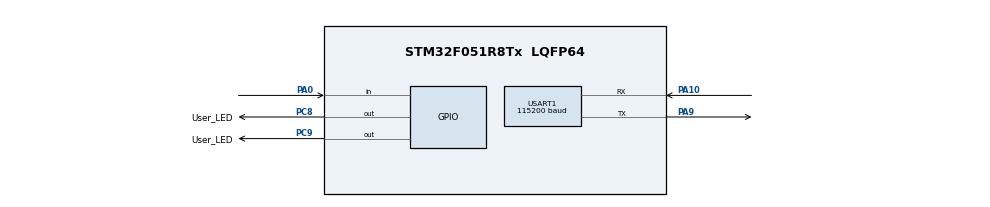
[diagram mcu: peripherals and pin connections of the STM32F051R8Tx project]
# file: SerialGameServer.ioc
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Mcu.Family=STM32F0
Mcu.Name=STM32F051R8Tx
Mcu.Package=LQFP64
NVIC.USART1_IRQn=true\:0\:0\:false\:false\:true\:true\:true\:true
PA0.GPIO_PuPd=GPIO_PULLUP
PA0.Signal=GPIO_Input
PA10.Mode=Asynchronous
PA10.Signal=USART1_RX
PA9.Mode=Asynchronous
PA9.Signal=USART1_TX
PC8.GPIO_Label=User_LED
PC8.Signal=GPIO_Output
PC9.GPIO_Label=User_LED
PC9.Signal=GPIO_Output
ProjectManager.HeapSize=0x200
ProjectManager.StackSize=0x400
ProjectManager.TargetToolchain=STM32CubeIDE
USART1.BaudRate=115200
USART1.VirtualMode-Asynchronous=VM_ASYNC
board=custom

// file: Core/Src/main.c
/* USER CODE BEGIN Header */
/**
  ******************************************************************************
  * @file           : main.c
  * @brief          : Main program body
  ******************************************************************************
  * @attention
  *
  * Copyright (c) 2026 STMicroelectronics.
  * All rights reserved.
  *
  * This software is licensed under terms that can be found in the LICENSE file
  * in the root directory of this software component.
  * If no LICENSE file comes with this software, it is provided AS-IS.
  *
  ******************************************************************************
  */
/* USER CODE END Header */
#include "main.h"

/* USER CODE BEGIN Includes */
#include <string.h>
#include "protocol.h"
#include "hardware.h"
/* USER CODE END Includes */

UART_HandleTypeDef huart1;

void SystemClock_Config(void);
static void MX_GPIO_Init(void);
static void MX_USART1_UART_Init(void);

int main(void)
{

  /* MCU Configuration--------------------------------------------------------*/

  /* Reset of all peripherals, Initializes the Flash interface and the Systick. */
  HAL_Init();

  /* Configure the system clock */
  SystemClock_Config();

  /* Initialize all configured peripherals */
  MX_GPIO_Init();
  MX_USART1_UART_Init();
  /* USER CODE BEGIN 2 */
  const char test_msg[] = "STM32 SERIAL SERVER READY\r\n";
  HAL_UART_Transmit(&huart1, (uint8_t*)test_msg, sizeof(test_msg)-1, 100);

  /* Initialize interrupt-driven circular ring buffer protocol layer */
  protocol_init(&huart1);

  /* Initialize hardware button debouncer and LED indicators */
  hardware_init();
  /* USER CODE END 2 */

  /* Infinite loop */
  while (1)
  {

    /* USER CODE BEGIN 3 */
    /* Non-blocking protocol processing of ring buffer */
    protocol_poll();

    /* Non-blocking hardware task: button debouncing and LED status updates */
    hardware_update();
  }
  /* USER CODE END 3 */
}

void SystemClock_Config(void)
{
  RCC_OscInitTypeDef RCC_OscInitStruct = {0};
  RCC_ClkInitTypeDef RCC_ClkInitStruct = {0};
  RCC_PeriphCLKInitTypeDef PeriphClkInit = {0};

  /** Initializes the RCC Oscillators according to the specified parameters
  * in the RCC_OscInitTypeDef structure.
  */
  RCC_OscInitStruct.OscillatorType = RCC_OSCILLATORTYPE_HSI;
  RCC_OscInitStruct.HSIState = RCC_HSI_ON;
  RCC_OscInitStruct.HSICalibrationValue = RCC_HSICALIBRATION_DEFAULT;
  RCC_OscInitStruct.PLL.PLLState = RCC_PLL_NONE;
  if (HAL_RCC_OscConfig(&RCC_OscInitStruct) != HAL_OK)
  {
    Error_Handler();
  }

  /** Initializes the CPU, AHB and APB buses clocks
  */
  RCC_ClkInitStruct.ClockType = RCC_CLOCKTYPE_HCLK|RCC_CLOCKTYPE_SYSCLK
                              |RCC_CLOCKTYPE_PCLK1;
  RCC_ClkInitStruct.SYSCLKSource = RCC_SYSCLKSOURCE_HSI;
  RCC_ClkInitStruct.AHBCLKDivider = RCC_SYSCLK_DIV1;
  RCC_ClkInitStruct.APB1CLKDivider = RCC_HCLK_DIV1;

  if (HAL_RCC_ClockConfig(&RCC_ClkInitStruct, FLASH_LATENCY_0) != HAL_OK)
  {
    Error_Handler();
  }
  PeriphClkInit.PeriphClockSelection = RCC_PERIPHCLK_USART1;
  PeriphClkInit.Usart1ClockSelection = RCC_USART1CLKSOURCE_PCLK1;
  if (HAL_RCCEx_PeriphCLKConfig(&PeriphClkInit) != HAL_OK)
  {
    Error_Handler();
  }
}

static void MX_USART1_UART_Init(void)
{

  huart1.Instance = USART1;
  huart1.Init.BaudRate = 115200;
  huart1.Init.WordLength = UART_WORDLENGTH_8B;
  huart1.Init.StopBits = UART_STOPBITS_1;
  huart1.Init.Parity = UART_PARITY_NONE;
  huart1.Init.Mode = UART_MODE_TX_RX;
  huart1.Init.HwFlowCtl = UART_HWCONTROL_NONE;
  huart1.Init.OverSampling = UART_OVERSAMPLING_16;
  huart1.Init.OneBitSampling = UART_ONE_BIT_SAMPLE_DISABLE;
  huart1.AdvancedInit.AdvFeatureInit = UART_ADVFEATURE_NO_INIT;
  if (HAL_UART_Init(&huart1) != HAL_OK)
  {
    Error_Handler();
  }

}

static void MX_GPIO_Init(void)
{
  GPIO_InitTypeDef GPIO_InitStruct = {0};

  /* GPIO Ports Clock Enable */
  __HAL_RCC_GPIOA_CLK_ENABLE();
  __HAL_RCC_GPIOC_CLK_ENABLE();

  /*Configure GPIO pin Output Level */
  HAL_GPIO_WritePin(GPIOC, User_LED_Pin|User_LEDC9_Pin, GPIO_PIN_RESET);

  /*Configure GPIO pin : PA0 */
  GPIO_InitStruct.Pin = GPIO_PIN_0;
  GPIO_InitStruct.Mode = GPIO_MODE_INPUT;
  GPIO_InitStruct.Pull = GPIO_PULLUP;
  HAL_GPIO_Init(GPIOA, &GPIO_InitStruct);

  /*Configure GPIO pins : User_LED_Pin User_LEDC9_Pin */
  GPIO_InitStruct.Pin = User_LED_Pin|User_LEDC9_Pin;
  GPIO_InitStruct.Mode = GPIO_MODE_OUTPUT_PP;
  GPIO_InitStruct.Pull = GPIO_NOPULL;
  GPIO_InitStruct.Speed = GPIO_SPEED_FREQ_LOW;
  HAL_GPIO_Init(GPIOC, &GPIO_InitStruct);

  /* USER CODE BEGIN MX_GPIO_Init_2 */
  /* Enable GPIOB Clock for UCT Dev Board LEDs */
  __HAL_RCC_GPIOB_CLK_ENABLE();

  /* Configure Byte of LEDs (PB0-PB7) and Dual Status LEDs (PB10 Red, PB11 Green) */
  HAL_GPIO_WritePin(GPIOB, GPIO_PIN_0 | GPIO_PIN_1 | GPIO_PIN_2 | GPIO_PIN_3 |
                           GPIO_PIN_4 | GPIO_PIN_5 | GPIO_PIN_6 | GPIO_PIN_7 |
                           GPIO_PIN_10 | GPIO_PIN_11, GPIO_PIN_RESET);

  GPIO_InitStruct.Pin = GPIO_PIN_0 | GPIO_PIN_1 | GPIO_PIN_2 | GPIO_PIN_3 |
                        GPIO_PIN_4 | GPIO_PIN_5 | GPIO_PIN_6 | GPIO_PIN_7 |
                        GPIO_PIN_10 | GPIO_PIN_11;
  GPIO_InitStruct.Mode = GPIO_MODE_OUTPUT_PP;
  GPIO_InitStruct.Pull = GPIO_NOPULL;
  GPIO_InitStruct.Speed = GPIO_SPEED_FREQ_LOW;
  HAL_GPIO_Init(GPIOB, &GPIO_InitStruct);
  /* USER CODE END MX_GPIO_Init_2 */
}

/* USER CODE BEGIN 4 */
void HAL_UART_RxCpltCallback(UART_HandleTypeDef *huart)
{
  if (huart->Instance == USART1)
  {
    protocol_rx_isr();
    /* Visual indicator on UCT Dev Board: pulse D0 when packet byte arrives */
    hardware_indicate_activity();
  }
}

void HAL_UART_ErrorCallback(UART_HandleTypeDef *huart)
{
  if (huart->Instance == USART1)
  {
    protocol_error_isr();
  }
}
/* USER CODE END 4 */

void Error_Handler(void)
{
  __disable_irq();
  while (1)
  {
  }
}
